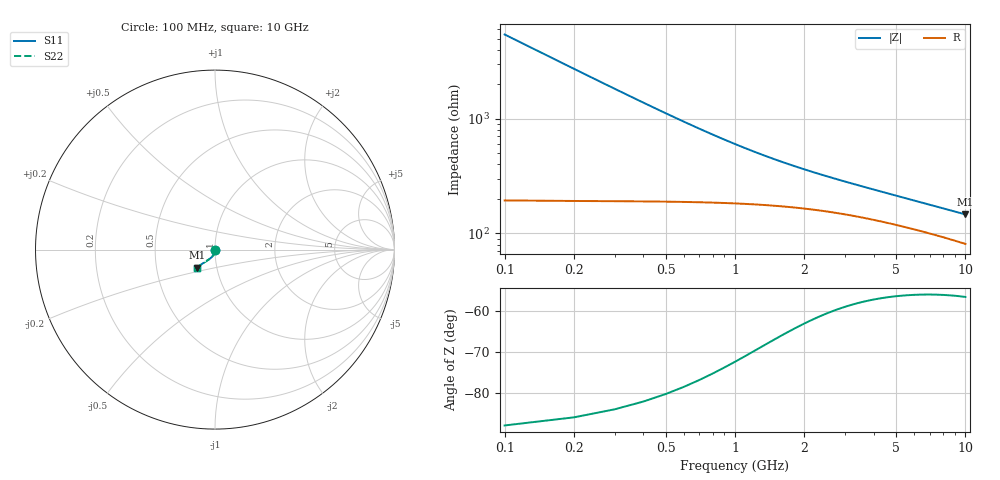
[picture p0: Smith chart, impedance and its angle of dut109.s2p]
! Touchstone file exported from HFSS 2024.1.0
!  File:  C:/UserFiles/LocalFiles/RDL_TSV_Batchsim/temp_TSV1_109_1778752477.aedt
!  Generated:  05:58:37 PM May 14, 2026
!  Design:  TSV1
!  Project:  temp_TSV1_109_1778752477
!  Setup:  Setup1
!  Solution:  Sweep
! Variables:
!  dtsv = 27.54um
!  hbump = 3um
!  htsv = 88.4um
!  lrdl = 252.1521522um
!  p = 40
!  p1 = 58.45um
!  t = 500um
!  trdl = 3um
!  wrdl = 24.89489489um
# GHz S MA R 50.000000
! Terminal data exported
! Port[1] = TSV22_T1
! Port[2] = TSV22_T2
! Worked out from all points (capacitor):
!   100 points, 100 MHz to 10 GHz, reference 50 ohm
!   read as one part in shunt: C = 293 fF near 100 MHz
!   lowest |Z| = 146 ohm at 10 GHz (marker M1)
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0.1  0.004339 -91.3  0.9997 -0.3  0.9997 -0.3  0.004339 -91.3
! Gamma 0 0 0 0
! Port Impedance 50 0 50 0
0.2  0.008644 -94.0  0.9992 -0.6  0.9992 -0.6  0.008644 -94.0
0.3  0.01288 -96.4  0.9983 -0.8  0.9983 -0.8  0.01288 -96.4
0.4  0.01703 -98.6  0.9971 -1.1  0.9971 -1.1  0.01703 -98.6
0.5  0.02106 -100.8  0.9957 -1.3  0.9957 -1.3  0.02106 -100.8
0.6  0.02495 -102.9  0.9941 -1.6  0.9941 -1.6  0.02495 -102.9
0.7  0.0287 -104.8  0.9922 -1.8  0.9922 -1.8  0.0287 -104.8
0.8  0.03227 -106.7  0.9903 -2.0  0.9903 -2.0  0.03227 -106.7
0.9  0.03569 -108.4  0.9883 -2.2  0.9883 -2.2  0.03569 -108.4
1.1  0.04201 -111.7  0.9842 -2.5  0.9842 -2.5  0.04201 -111.7
1.4  0.05031 -115.7  0.9782 -3.0  0.9782 -3.0  0.05031 -115.7
1.6  0.05515 -118.0  0.9744 -3.2  0.9744 -3.2  0.05515 -118.0
1.8  0.05953 -119.9  0.9708 -3.4  0.9708 -3.4  0.05953 -119.9
2.1  0.06538 -122.3  0.9658 -3.7  0.9658 -3.7  0.06538 -122.3
2.5  0.07216 -124.8  0.9599 -4.1  0.9599 -4.1  0.07216 -124.8
2.9  0.07812 -126.6  0.9547 -4.4  0.9547 -4.4  0.07812 -126.6
3.4  0.08477 -128.3  0.9491 -4.7  0.9491 -4.7  0.08477 -128.3
4.2  0.09416 -130.2  0.9414 -5.2  0.9414 -5.2  0.09416 -130.2
5.1  0.1035 -131.6  0.934 -5.8  0.934 -5.8  0.1035 -131.6
6.7  0.1178 -133.2  0.9232 -6.7  0.9232 -6.7  0.1178 -133.2
8.4  0.131 -134.3  0.9138 -7.6  0.9138 -7.6  0.131 -134.3
10  0.1421 -134.9  0.9064 -8.4  0.9064 -8.4  0.1421 -134.9
